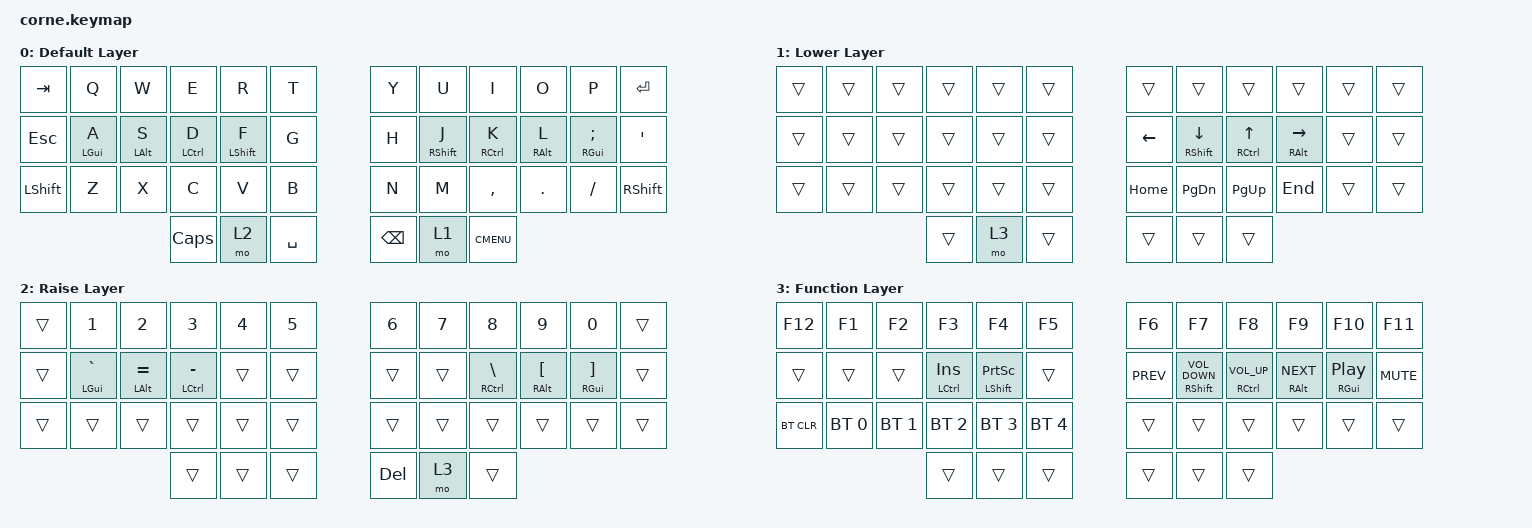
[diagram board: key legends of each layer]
/*
 * Copyright (c) 2020 The ZMK Contributors
 *
 * SPDX-License-Identifier: MIT
 */

#include <behaviors.dtsi>
#include <dt-bindings/zmk/bt.h>
#include <dt-bindings/zmk/keys.h>

/ {
    behaviors {
        hrml: home-row-mod-left {
            compatible = "zmk,behavior-hold-tap";
            label = "home-row-mod-left";
            bindings = <&kp>, <&kp>;

            #binding-cells = <2>;
            tapping-term-ms = <250>;
            quick-tap-ms = <175>;
            require-prior-idle-ms = <150>;
            flavor = "balanced";
            hold-trigger-on-release;
            hold-trigger-key-positions = <39 30 18 6 7 19 31 40 41 32 20 8 9 21 22 23 33 34 35 10 11>;
        };

        hrmr: home-row-mod-right {
            compatible = "zmk,behavior-hold-tap";
            label = "home-row-mod-right";
            bindings = <&kp>, <&kp>;

            #binding-cells = <2>;
            tapping-term-ms = <250>;
            quick-tap-ms = <175>;
            require-prior-idle-ms = <150>;
            flavor = "balanced";
            hold-trigger-key-positions = <0 1 2 4 5 12 13 14 15 16 17 24 25 26 27 28 29 36 37 38 3>;
            hold-trigger-on-release;
        };
    };

    combos { compatible = "zmk,combos"; };

    keymap {
        compatible = "zmk,keymap";

        default_layer {
            display-name = "Default Layer";

            // -----------------------------------------------------------------------------------------
            // |  TAB |  Q  |  W  |  E  |  R  |  T  |   |  Y  |  U   |  I  |  O  |  P  | BSPC |
            // | CTRL |  A  |  S  |  D  |  F  |  G  |   |  H  |  J   |  K  |  L  |  ;  |  '   |
            // | SHFT |  Z  |  X  |  C  |  V  |  B  |   |  N  |  M   |  ,  |  .  |  /  | ESC  |
            //                    | GUI | LWR | SPC |   | ENT | RSE  | ALT |

            bindings = <
&kp TAB     &kp Q             &kp W             &kp E                 &kp R               &kp T        &kp Y          &kp U                &kp I                  &kp O              &kp P                 &kp ENTER
&kp ESCAPE  &hrml LEFT_GUI A  &hrml LEFT_ALT S  &hrml LEFT_CONTROL D  &hrml LEFT_SHIFT F  &kp G        &kp H          &hrmr RIGHT_SHIFT J  &hrmr RIGHT_CONTROL K  &hrmr RIGHT_ALT L  &hrmr RIGHT_GUI SEMI  &kp APOS
&kp LSHIFT  &kp Z             &kp X             &kp C                 &kp V               &kp B        &kp N          &kp M                &kp COMMA              &kp DOT            &kp FSLH              &kp RSHIFT
                                                &kp CAPSLOCK          &mo 2               &kp SPACE    &kp BACKSPACE  &mo 1                &kp K_CMENU
            >;
        };

        lower_layer {
            display-name = "Lower Layer";

            // -----------------------------------------------------------------------------------------
            // |  TAB |  1  |  2  |  3  |  4  |  5  |   |  6  |  7  |  8  |  9  |  0  | BSPC |
            // | BTCLR| BT1 | BT2 | BT3 | BT4 | BT5 |   | LFT | DWN |  UP | RGT |     |      |
            // | SHFT |     |     |     |     |     |   |     |     |     |     |     |      |
            //                    | GUI |     | SPC |   | ENT |     | ALT |

            bindings = <
&trans  &trans  &trans  &trans  &trans  &trans    &trans    &trans                  &trans                  &trans                 &trans  &trans
&trans  &trans  &trans  &trans  &trans  &trans    &kp LEFT  &hrmr RIGHT_SHIFT DOWN  &hrmr RIGHT_CONTROL UP  &hrmr RIGHT_ALT RIGHT  &trans  &trans
&trans  &trans  &trans  &trans  &trans  &trans    &kp HOME  &kp PAGE_DOWN           &kp PAGE_UP             &kp END                &trans  &trans
                        &trans  &mo 3   &trans    &trans    &trans                  &trans
            >;
        };

        raise_layer {
            display-name = "Raise Layer";

            // -----------------------------------------------------------------------------------------
            // |  TAB |  !  |  @  |  #  |  $  |  %  |   |  ^  |  &  |  *  |  (  |  )  | BSPC |
            // | CTRL |     |     |     |     |     |   |  -  |  =  |  [  |  ]  |  \  |  `   |
            // | SHFT |     |     |     |     |     |   |  _  |  +  |  {  |  }  | "|" |  ~   |
            //                    | GUI |     | SPC |   | ENT |     | ALT |

            bindings = <
&trans  &kp NUMBER_1          &kp NUMBER_2          &kp NUMBER_3              &kp NUMBER_4  &kp N5    &kp NUMBER_6  &kp N7  &kp N8                         &kp N9                        &kp N0                         &trans
&trans  &hrml LEFT_GUI GRAVE  &hrml LEFT_ALT EQUAL  &hrml LEFT_CONTROL MINUS  &trans        &trans    &trans        &trans  &hrmr RIGHT_CONTROL BACKSLASH  &hrmr RIGHT_ALT LEFT_BRACKET  &hrmr RIGHT_GUI RIGHT_BRACKET  &trans
&trans  &trans                &trans                &trans                    &trans        &trans    &trans        &trans  &trans                         &trans                        &trans                         &trans
                                                    &trans                    &trans        &trans    &kp DELETE    &mo 3   &trans
            >;
        };

        function_layer {
            bindings = <
&kp F12     &kp F1        &kp F2        &kp F3              &kp F4                   &kp F5          &kp F6      &kp F7                           &kp F8                        &kp F9                  &kp F10                       &kp F11
&trans      &trans        &trans        &hrml LCTRL INSERT  &hrml LSHFT PRINTSCREEN  &trans          &kp C_PREV  &hrmr RIGHT_SHIFT C_VOLUME_DOWN  &hrmr RIGHT_CONTROL C_VOL_UP  &hrmr RIGHT_ALT C_NEXT  &hrmr RIGHT_GUI C_PLAY_PAUSE  &kp C_MUTE
&bt BT_CLR  &bt BT_SEL 0  &bt BT_SEL 1  &bt BT_SEL 2        &bt BT_SEL 3             &bt BT_SEL 4    &trans      &trans                           &trans                        &trans                  &trans                        &trans
                                        &trans              &trans                   &trans          &trans      &trans                           &trans
            >;

            label = "Function Layer";
        };
    };
};
